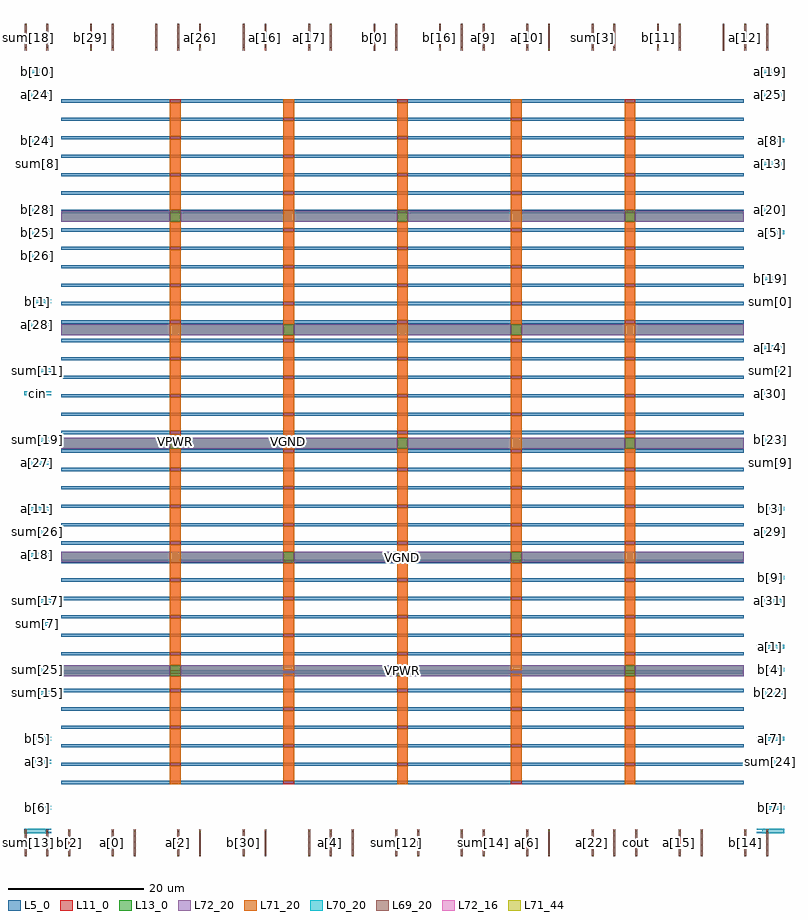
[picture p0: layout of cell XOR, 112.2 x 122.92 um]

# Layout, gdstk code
import gdstk
lib = gdstk.Library(unit=1e-6, precision=1e-09)
def R(c, l, rs):  # rectangles x0, y0, x1, y1
    for r in rs: c.add(gdstk.rectangle(r[:2], r[2:], *l))
def A(c, l, x, y, w, h, nx, ny, dx, dy):  # array of equal rectangles
    R(c, l, [(x+i*dx, y+j*dy, x+i*dx+w, y+j*dy+h) for i in range(nx) for j in range(ny)])
def P(c, l, *ps):  # polygons
    for p in ps: c.add(gdstk.Polygon(p, *l))
L5_0 = (5, 0)
L11_0 = (11, 0)
L13_0 = (13, 0)
L69_20 = (69, 20)
L70_20 = (70, 20)
L71_20 = (71, 20)
L71_44 = (71, 44)
L72_16 = (72, 16)
L72_20 = (72, 20)

xor = lib.new_cell('XOR')
P(xor, L69_20, [(0.09,0),(0.09,4),(0.16,4),(0.16,3.74),(0.3,3.74),(0.3,4),(0.37,4),(0.37,0)],
  [(3.31,0),(3.31,4),(3.38,4),(3.38,3.74),(3.52,3.74),(3.52,4),(3.59,4),(3.59,0)],
  [(6.53,0),(6.53,4),(6.6,4),(6.6,3.74),(6.74,3.74),(6.74,4),(6.81,4),(6.81,0)],
  [(12.97,0),(12.97,4),(13.04,4),(13.04,3.74),(13.18,3.74),(13.18,4),(13.25,4),(13.25,0)],
  [(16.19,0),(16.19,4),(16.26,4),(16.26,3.74),(16.4,3.74),(16.4,4),(16.47,4),(16.47,0)],
  [(22.63,0),(22.63,4),(22.7,4),(22.7,3.74),(22.84,3.74),(22.84,4),(22.91,4),(22.91,0)],
  [(25.85,0),(25.85,4),(25.92,4),(25.92,3.74),(26.06,3.74),(26.06,4),(26.13,4),(26.13,0)],
  [(32.29,0),(32.29,4),(32.36,4),(32.36,3.74),(32.5,3.74),(32.5,4),(32.57,4),(32.57,0)],
  [(35.51,0),(35.51,4),(35.58,4),(35.58,3.74),(35.72,3.74),(35.72,4),(35.79,4),(35.79,0)],
  [(41.95,0),(41.95,4),(42.02,4),(42.02,3.74),(42.16,3.74),(42.16,4),(42.23,4),(42.23,0)],
  [(45.17,0),(45.17,4),(45.24,4),(45.24,3.74),(45.38,3.74),(45.38,4),(45.45,4),(45.45,0)],
  [(48.39,0),(48.39,4),(48.46,4),(48.46,3.74),(48.6,3.74),(48.6,4),(48.67,4),(48.67,0)],
  [(54.83,0),(54.83,4),(54.9,4),(54.9,3.74),(55.04,3.74),(55.04,4),(55.11,4),(55.11,0)],
  [(58.05,0),(58.05,4),(58.12,4),(58.12,3.74),(58.26,3.74),(58.26,4),(58.33,4),(58.33,0)],
  [(64.49,0),(64.49,4),(64.56,4),(64.56,3.74),(64.7,3.74),(64.7,4),(64.77,4),(64.77,0)],
  [(67.71,0),(67.71,4),(67.78,4),(67.78,3.74),(67.92,3.74),(67.92,4),(67.99,4),(67.99,0)],
  [(74.15,0),(74.15,4),(74.22,4),(74.22,3.74),(74.36,3.74),(74.36,4),(74.43,4),(74.43,0)],
  [(77.37,0),(77.37,4),(77.44,4),(77.44,3.74),(77.58,3.74),(77.58,4),(77.65,4),(77.65,0)],
  [(83.81,0),(83.81,4),(83.88,4),(83.88,3.74),(84.02,3.74),(84.02,4),(84.09,4),(84.09,0)],
  [(87.03,0),(87.03,4),(87.1,4),(87.1,3.74),(87.24,3.74),(87.24,4),(87.31,4),(87.31,0)],
  [(90.25,0),(90.25,4),(90.32,4),(90.32,3.74),(90.46,3.74),(90.46,4),(90.53,4),(90.53,0)],
  [(96.69,0),(96.69,4),(96.76,4),(96.76,3.74),(96.9,3.74),(96.9,4),(96.97,4),(96.97,0)],
  [(99.91,0),(99.91,4),(99.98,4),(99.98,3.74),(100.12,3.74),(100.12,4),(100.19,4),(100.19,0)],
  [(106.35,0),(106.35,4),(106.42,4),(106.42,3.74),(106.56,3.74),(106.56,4),(106.63,4),(106.63,0)],
  [(109.57,0),(109.57,4),(109.64,4),(109.64,3.74),(109.78,3.74),(109.78,4),(109.85,4),(109.85,0)],
  [(0.09,118.925),(0.09,122.925),(0.37,122.925),(0.37,118.925),(0.3,118.925),(0.3,119.34),(0.16,119.34),(0.16,118.925)],
  [(3.31,118.925),(3.31,122.925),(3.59,122.925),(3.59,118.925),(3.52,118.925),(3.52,119.34),(3.38,119.34),(3.38,118.925)],
  [(9.75,118.925),(9.75,122.925),(10.03,122.925),(10.03,118.925),(9.96,118.925),(9.96,119.34),(9.82,119.34),(9.82,118.925)],
  [(12.97,118.925),(12.97,122.925),(13.25,122.925),(13.25,118.925),(13.18,118.925),(13.18,119.34),(13.04,119.34),(13.04,118.925)],
  [(19.41,118.925),(19.41,122.925),(19.69,122.925),(19.69,118.925),(19.62,118.925),(19.62,119.34),(19.48,119.34),(19.48,118.925)],
  [(22.63,118.925),(22.63,122.925),(22.91,122.925),(22.91,118.925),(22.84,118.925),(22.84,119.34),(22.7,119.34),(22.7,118.925)],
  [(25.85,118.925),(25.85,122.925),(26.13,122.925),(26.13,118.925),(26.06,118.925),(26.06,119.34),(25.92,119.34),(25.92,118.925)],
  [(32.29,118.925),(32.29,122.925),(32.57,122.925),(32.57,118.925),(32.5,118.925),(32.5,119.34),(32.36,119.34),(32.36,118.925)],
  [(35.51,118.925),(35.51,122.925),(35.79,122.925),(35.79,118.925),(35.72,118.925),(35.72,119.34),(35.58,119.34),(35.58,118.925)],
  [(41.95,118.925),(41.95,122.925),(42.23,122.925),(42.23,118.925),(42.16,118.925),(42.16,119.34),(42.02,119.34),(42.02,118.925)],
  [(45.17,118.925),(45.17,122.925),(45.45,122.925),(45.45,118.925),(45.38,118.925),(45.38,119.34),(45.24,119.34),(45.24,118.925)],
  [(51.61,118.925),(51.61,122.925),(51.89,122.925),(51.89,118.925),(51.82,118.925),(51.82,119.34),(51.68,119.34),(51.68,118.925)],
  [(54.83,118.925),(54.83,122.925),(55.11,122.925),(55.11,118.925),(55.04,118.925),(55.04,119.34),(54.9,119.34),(54.9,118.925)],
  [(61.27,118.925),(61.27,122.925),(61.55,122.925),(61.55,118.925),(61.48,118.925),(61.48,119.34),(61.34,119.34),(61.34,118.925)],
  [(64.49,118.925),(64.49,122.925),(64.77,122.925),(64.77,118.925),(64.7,118.925),(64.7,119.34),(64.56,119.34),(64.56,118.925)],
  [(67.71,118.925),(67.71,122.925),(67.99,122.925),(67.99,118.925),(67.92,118.925),(67.92,119.34),(67.78,119.34),(67.78,118.925)],
  [(74.15,118.925),(74.15,122.925),(74.43,122.925),(74.43,118.925),(74.36,118.925),(74.36,119.34),(74.22,119.34),(74.22,118.925)],
  [(77.37,118.925),(77.37,122.925),(77.65,122.925),(77.65,118.925),(77.58,118.925),(77.58,119.34),(77.44,119.34),(77.44,118.925)],
  [(83.81,118.925),(83.81,122.925),(84.09,122.925),(84.09,118.925),(84.02,118.925),(84.02,119.34),(83.88,119.34),(83.88,118.925)],
  [(87.03,118.925),(87.03,122.925),(87.31,122.925),(87.31,118.925),(87.24,118.925),(87.24,119.34),(87.1,119.34),(87.1,118.925)],
  [(93.47,118.925),(93.47,122.925),(93.75,122.925),(93.75,118.925),(93.68,118.925),(93.68,119.34),(93.54,119.34),(93.54,118.925)],
  [(96.69,118.925),(96.69,122.925),(96.97,122.925),(96.97,118.925),(96.9,118.925),(96.9,119.34),(96.76,119.34),(96.76,118.925)],
  [(103.13,118.925),(103.13,122.925),(103.41,122.925),(103.41,118.925),(103.34,118.925),(103.34,119.34),(103.2,119.34),(103.2,118.925)],
  [(106.35,118.925),(106.35,122.925),(106.63,122.925),(106.63,118.925),(106.56,118.925),(106.56,119.34),(106.42,119.34),(106.42,118.925)],
  [(109.57,118.925),(109.57,122.925),(109.85,122.925),(109.85,118.925),(109.78,118.925),(109.78,119.34),(109.64,119.34),(109.64,118.925)])
P(xor, L70_20, [(0,3.44),(0,4.04),(4,4.04),(4,3.89),(3.22,3.89),(3.22,3.59),(4,3.59),(4,3.44)],
  [(108.205,3.44),(108.205,3.59),(109.02,3.59),(109.02,3.89),(108.205,3.89),(108.205,4.04),(112.205,4.04),(112.205,3.44)],
  [(0,6.84),(0,7.44),(4,7.44),(4,7.29),(3.22,7.29),(3.22,6.99),(4,6.99),(4,6.84)],
  [(108.205,6.84),(108.205,6.99),(109.02,6.99),(109.02,7.29),(108.205,7.29),(108.205,7.44),(112.205,7.44),(112.205,6.84)],
  [(0,13.64),(0,14.24),(4,14.24),(4,14.09),(3.22,14.09),(3.22,13.79),(4,13.79),(4,13.64)],
  [(108.205,13.64),(108.205,13.79),(109.02,13.79),(109.02,14.09),(108.205,14.09),(108.205,14.24),(112.205,14.24),(112.205,13.64)],
  [(0,17.04),(0,17.64),(4,17.64),(4,17.49),(3.22,17.49),(3.22,17.19),(4,17.19),(4,17.04)],
  [(108.205,17.04),(108.205,17.19),(109.02,17.19),(109.02,17.49),(108.205,17.49),(108.205,17.64),(112.205,17.64),(112.205,17.04)],
  [(0,23.84),(0,24.44),(4,24.44),(4,24.29),(3.22,24.29),(3.22,23.99),(4,23.99),(4,23.84)],
  [(108.205,23.84),(108.205,23.99),(109.02,23.99),(109.02,24.29),(108.205,24.29),(108.205,24.44),(112.205,24.44),(112.205,23.84)],
  [(0,27.24),(0,27.84),(4,27.84),(4,27.69),(3.22,27.69),(3.22,27.39),(4,27.39),(4,27.24)],
  [(108.205,27.24),(108.205,27.39),(109.02,27.39),(109.02,27.69),(108.205,27.69),(108.205,27.84),(112.205,27.84),(112.205,27.24)],
  [(108.205,30.64),(108.205,30.79),(109.02,30.79),(109.02,31.09),(108.205,31.09),(108.205,31.24),(112.205,31.24),(112.205,30.64)],
  [(0,34.04),(0,34.64),(4,34.64),(4,34.49),(3.22,34.49),(3.22,34.19),(4,34.19),(4,34.04)],
  [(0,37.44),(0,38.04),(4,38.04),(4,37.89),(3.22,37.89),(3.22,37.59),(4,37.59),(4,37.44)],
  [(108.205,37.44),(108.205,37.59),(109.02,37.59),(109.02,37.89),(108.205,37.89),(108.205,38.04),(112.205,38.04),(112.205,37.44)],
  [(108.205,40.84),(108.205,40.99),(109.02,40.99),(109.02,41.29),(108.205,41.29),(108.205,41.44),(112.205,41.44),(112.205,40.84)],
  [(0,44.24),(0,44.84),(4,44.84),(4,44.69),(3.22,44.69),(3.22,44.39),(4,44.39),(4,44.24)],
  [(0,47.64),(0,48.24),(4,48.24),(4,48.09),(3.22,48.09),(3.22,47.79),(4,47.79),(4,47.64)],
  [(108.205,47.64),(108.205,47.79),(109.02,47.79),(109.02,48.09),(108.205,48.09),(108.205,48.24),(112.205,48.24),(112.205,47.64)],
  [(0,51.04),(0,51.64),(4,51.64),(4,51.49),(3.22,51.49),(3.22,51.19),(4,51.19),(4,51.04)],
  [(108.205,51.04),(108.205,51.19),(109.02,51.19),(109.02,51.49),(108.205,51.49),(108.205,51.64),(112.205,51.64),(112.205,51.04)],
  [(0,57.84),(0,58.44),(4,58.44),(4,58.29),(3.22,58.29),(3.22,57.99),(4,57.99),(4,57.84)],
  [(108.205,57.84),(108.205,57.99),(109.02,57.99),(109.02,58.29),(108.205,58.29),(108.205,58.44),(112.205,58.44),(112.205,57.84)],
  [(0,61.24),(0,61.84),(4,61.84),(4,61.69),(3.22,61.69),(3.22,61.39),(4,61.39),(4,61.24)],
  [(108.205,61.24),(108.205,61.39),(109.02,61.39),(109.02,61.69),(108.205,61.69),(108.205,61.84),(112.205,61.84),(112.205,61.24)],
  [(0,68.04),(0,68.64),(4,68.64),(4,68.49),(3.22,68.49),(3.22,68.19),(4,68.19),(4,68.04)],
  [(108.205,68.04),(108.205,68.19),(109.02,68.19),(109.02,68.49),(108.205,68.49),(108.205,68.64),(112.205,68.64),(112.205,68.04)],
  [(0,71.44),(0,72.04),(4,72.04),(4,71.89),(3.22,71.89),(3.22,71.59),(4,71.59),(4,71.44)],
  [(108.205,71.44),(108.205,71.59),(109.02,71.59),(109.02,71.89),(108.205,71.89),(108.205,72.04),(112.205,72.04),(112.205,71.44)],
  [(108.205,74.84),(108.205,74.99),(109.02,74.99),(109.02,75.29),(108.205,75.29),(108.205,75.44),(112.205,75.44),(112.205,74.84)],
  [(0,78.24),(0,78.84),(4,78.84),(4,78.69),(3.22,78.69),(3.22,78.39),(4,78.39),(4,78.24)],
  [(0,81.64),(0,82.24),(4,82.24),(4,82.09),(3.22,82.09),(3.22,81.79),(4,81.79),(4,81.64)],
  [(108.205,81.64),(108.205,81.79),(109.02,81.79),(109.02,82.09),(108.205,82.09),(108.205,82.24),(112.205,82.24),(112.205,81.64)],
  [(108.205,85.04),(108.205,85.19),(109.02,85.19),(109.02,85.49),(108.205,85.49),(108.205,85.64),(112.205,85.64),(112.205,85.04)],
  [(0,88.44),(0,89.04),(4,89.04),(4,88.89),(3.22,88.89),(3.22,88.59),(4,88.59),(4,88.44)],
  [(0,91.84),(0,92.44),(4,92.44),(4,92.29),(3.22,92.29),(3.22,91.99),(4,91.99),(4,91.84)],
  [(108.205,91.84),(108.205,91.99),(109.02,91.99),(109.02,92.29),(108.205,92.29),(108.205,92.44),(112.205,92.44),(112.205,91.84)],
  [(0,95.24),(0,95.84),(4,95.84),(4,95.69),(3.22,95.69),(3.22,95.39),(4,95.39),(4,95.24)],
  [(108.205,95.24),(108.205,95.39),(109.02,95.39),(109.02,95.69),(108.205,95.69),(108.205,95.84),(112.205,95.84),(112.205,95.24)],
  [(0,102.04),(0,102.64),(4,102.64),(4,102.49),(3.22,102.49),(3.22,102.19),(4,102.19),(4,102.04)],
  [(108.205,102.04),(108.205,102.19),(109.02,102.19),(109.02,102.49),(108.205,102.49),(108.205,102.64),(112.205,102.64),(112.205,102.04)],
  [(0,105.44),(0,106.04),(4,106.04),(4,105.89),(3.22,105.89),(3.22,105.59),(4,105.59),(4,105.44)],
  [(108.205,105.44),(108.205,105.59),(109.02,105.59),(109.02,105.89),(108.205,105.89),(108.205,106.04),(112.205,106.04),(112.205,105.44)],
  [(0,112.24),(0,112.84),(4,112.84),(4,112.69),(3.22,112.69),(3.22,112.39),(4,112.39),(4,112.24)],
  [(108.205,112.24),(108.205,112.39),(109.02,112.39),(109.02,112.69),(108.205,112.69),(108.205,112.84),(112.205,112.84),(112.205,112.24)],
  [(0,115.64),(0,116.24),(4,116.24),(4,116.09),(3.22,116.09),(3.22,115.79),(4,115.79),(4,115.64)],
  [(108.205,115.64),(108.205,115.79),(109.02,115.79),(109.02,116.09),(108.205,116.09),(108.205,116.24),(112.205,116.24),(112.205,115.64)])
A(xor, L71_20, 21.51, 10.64, 1.6, 2.72, 3, 1, 33.58, 0)
A(xor, L71_20, 38.3, 11.12, 1.6, 4.96, 1, 6, 0, 5.44)
A(xor, L71_20, 71.88, 11.12, 1.6, 4.96, 1, 6, 0, 5.44)
A(xor, L71_20, 21.51, 13.84, 1.6, 4.96, 3, 2, 33.58, 5.44)
A(xor, L71_20, 21.51, 24.72, 1.6, 1.893, 3, 1, 33.58, 0)
A(xor, L71_20, 21.51, 28.213, 1.6, 1.467, 3, 1, 33.58, 0)
A(xor, L71_20, 21.51, 30.16, 1.6, 4.96, 3, 5, 33.58, 5.44)
A(xor, L71_20, 38.3, 49.2, 1.6, 4.96, 1, 5, 0, 5.44)
A(xor, L71_20, 71.88, 49.2, 1.6, 4.96, 1, 5, 0, 5.44)
A(xor, L71_20, 21.51, 57.36, 1.6, 2.8, 3, 1, 33.58, 0)
A(xor, L71_20, 21.51, 61.76, 1.6, 0.56, 3, 1, 33.58, 0)
A(xor, L71_20, 21.51, 62.8, 1.6, 4.96, 3, 5, 33.58, 5.44)
A(xor, L71_20, 38.3, 81.84, 1.6, 4.96, 1, 5, 0, 5.44)
A(xor, L71_20, 71.88, 81.84, 1.6, 4.96, 1, 5, 0, 5.44)
A(xor, L71_20, 21.51, 90, 1.6, 3.707, 3, 1, 33.58, 0)
A(xor, L71_20, 21.51, 95.44, 1.6, 4.96, 3, 3, 33.58, 5.44)
R(xor, L71_20, [(38.3,44.986,39.9,48.72), (71.88,44.986,73.48,48.72), (38.3,76.4,39.9,76.933), (71.88,76.4,73.48,76.933), (38.3,78.533,39.9,81.36), (71.88,78.533,73.48,81.36), (38.3,109.04,39.9,111.76), (71.88,109.04,73.48,111.76)])
A(xor, L71_44, 21.91, 27.01, 0.8, 0.003, 3, 2, 33.58, 0.8)
A(xor, L71_44, 21.91, 94.105, 0.8, 0.002, 3, 2, 33.58, 0.8)
R(xor, L71_44, [(38.7,43.785,39.5,43.786), (72.28,43.785,73.08,43.786), (38.7,44.585,39.5,44.586), (72.28,44.585,73.08,44.586), (38.7,77.33,39.5,77.333), (72.28,77.33,73.08,77.333), (38.7,78.13,39.5,78.133), (72.28,78.13,73.08,78.133)])
R(xor, L72_16, [(5.52,26.613,106.26,26.615), (5.52,28.213,106.26,28.215), (5.52,43.385,106.26,43.386), (5.52,44.985,106.26,44.986), (5.52,76.933,106.26,76.935), (5.52,78.533,106.26,78.535), (5.52,93.705,106.26,93.707), (5.52,95.305,106.26,95.307)])
R(xor, L72_20, [(5.52,60.16,21.51,61.76), (23.11,60.16,55.09,61.76), (56.69,60.16,88.67,61.76), (90.27,60.16,106.26,61.76)])
P(xor, L72_20, [(5.52,26.61),(5.52,28.213),(21.51,28.213),(21.51,26.613),(23.11,26.613),(23.11,28.213),(55.09,28.213),(55.09,26.613),(56.69,26.613),(56.69,28.213),(88.67,28.213),(88.67,26.613),(90.27,26.613),(90.27,28.213),(5.52,28.213),(5.52,28.215),(106.26,28.215),(106.26,26.61)],
  [(5.52,43.385),(5.52,44.985),(38.3,44.985),(38.3,43.386),(39.9,43.386),(39.9,44.985),(38.3,44.985),(38.3,44.986),(39.9,44.986),(39.9,44.985),(71.88,44.985),(71.88,43.386),(73.48,43.386),(73.48,44.985),(71.88,44.985),(71.88,44.986),(73.48,44.986),(73.48,44.985),(106.26,44.985),(106.26,43.385)],
  [(5.52,76.93),(5.52,78.533),(38.3,78.533),(38.3,76.933),(39.9,76.933),(39.9,78.533),(71.88,78.533),(71.88,76.933),(73.48,76.933),(73.48,78.533),(5.52,78.533),(5.52,78.535),(106.26,78.535),(106.26,76.93)],
  [(5.52,93.705),(5.52,95.305),(21.51,95.305),(21.51,93.707),(23.11,93.707),(23.11,95.305),(21.51,95.305),(21.51,95.307),(23.11,95.307),(23.11,95.305),(55.09,95.305),(55.09,93.707),(56.69,93.707),(56.69,95.305),(55.09,95.305),(55.09,95.307),(56.69,95.307),(56.69,95.305),(88.67,95.305),(88.67,93.707),(90.27,93.707),(90.27,95.305),(88.67,95.305),(88.67,95.307),(90.27,95.307),(90.27,95.305),(106.26,95.305),(106.26,93.705)])
xor.add(gdstk.FlexPath([(72.68,10.64),(72.68,111.76)], 1.6, ends="flush", simple_path=True, layer=11, datatype=0))  # L11_0
xor.add(gdstk.FlexPath([(39.1,10.64),(39.1,111.76)], 1.6, ends="flush", simple_path=True, layer=11, datatype=0))  # L11_0
xor.add(gdstk.FlexPath([(89.47,10.64),(89.47,111.76)], 1.6, ends="flush", simple_path=True, layer=11, datatype=0))  # L11_0
xor.add(gdstk.FlexPath([(55.89,10.64),(55.89,111.76)], 1.6, ends="flush", simple_path=True, layer=11, datatype=0))  # L11_0
xor.add(gdstk.FlexPath([(22.31,10.64),(22.31,111.76)], 1.6, ends="flush", simple_path=True, layer=11, datatype=0))  # L11_0
xor.add(gdstk.FlexPath([(5.52,77.733),(106.26,77.733)], 1.6, ends="flush", simple_path=True, layer=13, datatype=0))  # L13_0
xor.add(gdstk.FlexPath([(5.52,44.186),(106.26,44.186)], 1.6, ends="flush", simple_path=True, layer=13, datatype=0))  # L13_0
xor.add(gdstk.FlexPath([(5.52,94.507),(106.26,94.507)], 1.6, ends="flush", simple_path=True, layer=13, datatype=0))  # L13_0
xor.add(gdstk.FlexPath([(5.52,60.96),(106.26,60.96)], 1.6, ends="flush", simple_path=True, layer=13, datatype=0))  # L13_0
xor.add(gdstk.FlexPath([(5.52,27.413),(106.26,27.413)], 1.6, ends="flush", simple_path=True, layer=13, datatype=0))  # L13_0
xor.add(gdstk.FlexPath([(5.52,108.8),(106.26,108.8)], 0.48, ends="flush", simple_path=True, layer=5, datatype=0))  # L5_0
xor.add(gdstk.FlexPath([(5.52,103.36),(106.26,103.36)], 0.48, ends="flush", simple_path=True, layer=5, datatype=0))  # L5_0
xor.add(gdstk.FlexPath([(5.52,97.92),(106.26,97.92)], 0.48, ends="flush", simple_path=True, layer=5, datatype=0))  # L5_0
xor.add(gdstk.FlexPath([(5.52,92.48),(106.26,92.48)], 0.48, ends="flush", simple_path=True, layer=5, datatype=0))  # L5_0
xor.add(gdstk.FlexPath([(5.52,87.04),(106.26,87.04)], 0.48, ends="flush", simple_path=True, layer=5, datatype=0))  # L5_0
xor.add(gdstk.FlexPath([(5.52,81.6),(106.26,81.6)], 0.48, ends="flush", simple_path=True, layer=5, datatype=0))  # L5_0
xor.add(gdstk.FlexPath([(5.52,76.16),(106.26,76.16)], 0.48, ends="flush", simple_path=True, layer=5, datatype=0))  # L5_0
xor.add(gdstk.FlexPath([(5.52,70.72),(106.26,70.72)], 0.48, ends="flush", simple_path=True, layer=5, datatype=0))  # L5_0
xor.add(gdstk.FlexPath([(5.52,65.28),(106.26,65.28)], 0.48, ends="flush", simple_path=True, layer=5, datatype=0))  # L5_0
xor.add(gdstk.FlexPath([(5.52,59.84),(106.26,59.84)], 0.48, ends="flush", simple_path=True, layer=5, datatype=0))  # L5_0
xor.add(gdstk.FlexPath([(5.52,54.4),(106.26,54.4)], 0.48, ends="flush", simple_path=True, layer=5, datatype=0))  # L5_0
xor.add(gdstk.FlexPath([(5.52,48.96),(106.26,48.96)], 0.48, ends="flush", simple_path=True, layer=5, datatype=0))  # L5_0
xor.add(gdstk.FlexPath([(5.52,43.52),(106.26,43.52)], 0.48, ends="flush", simple_path=True, layer=5, datatype=0))  # L5_0
xor.add(gdstk.FlexPath([(5.52,38.08),(106.26,38.08)], 0.48, ends="flush", simple_path=True, layer=5, datatype=0))  # L5_0
xor.add(gdstk.FlexPath([(5.52,32.64),(106.26,32.64)], 0.48, ends="flush", simple_path=True, layer=5, datatype=0))  # L5_0
xor.add(gdstk.FlexPath([(5.52,27.2),(106.26,27.2)], 0.48, ends="flush", simple_path=True, layer=5, datatype=0))  # L5_0
xor.add(gdstk.FlexPath([(5.52,21.76),(106.26,21.76)], 0.48, ends="flush", simple_path=True, layer=5, datatype=0))  # L5_0
xor.add(gdstk.FlexPath([(5.52,16.32),(106.26,16.32)], 0.48, ends="flush", simple_path=True, layer=5, datatype=0))  # L5_0
xor.add(gdstk.FlexPath([(5.52,10.88),(106.26,10.88)], 0.48, ends="flush", simple_path=True, layer=5, datatype=0))  # L5_0
xor.add(gdstk.FlexPath([(5.52,111.52),(106.26,111.52)], 0.48, ends="flush", simple_path=True, layer=5, datatype=0))  # L5_0
xor.add(gdstk.FlexPath([(5.52,106.08),(106.26,106.08)], 0.48, ends="flush", simple_path=True, layer=5, datatype=0))  # L5_0
xor.add(gdstk.FlexPath([(5.52,100.64),(106.26,100.64)], 0.48, ends="flush", simple_path=True, layer=5, datatype=0))  # L5_0
xor.add(gdstk.FlexPath([(5.52,95.2),(106.26,95.2)], 0.48, ends="flush", simple_path=True, layer=5, datatype=0))  # L5_0
xor.add(gdstk.FlexPath([(5.52,89.76),(106.26,89.76)], 0.48, ends="flush", simple_path=True, layer=5, datatype=0))  # L5_0
xor.add(gdstk.FlexPath([(5.52,84.32),(106.26,84.32)], 0.48, ends="flush", simple_path=True, layer=5, datatype=0))  # L5_0
xor.add(gdstk.FlexPath([(5.52,78.88),(106.26,78.88)], 0.48, ends="flush", simple_path=True, layer=5, datatype=0))  # L5_0
xor.add(gdstk.FlexPath([(5.52,73.44),(106.26,73.44)], 0.48, ends="flush", simple_path=True, layer=5, datatype=0))  # L5_0
xor.add(gdstk.FlexPath([(5.52,68),(106.26,68)], 0.48, ends="flush", simple_path=True, layer=5, datatype=0))  # L5_0
xor.add(gdstk.FlexPath([(5.52,62.56),(106.26,62.56)], 0.48, ends="flush", simple_path=True, layer=5, datatype=0))  # L5_0
xor.add(gdstk.FlexPath([(5.52,57.12),(106.26,57.12)], 0.48, ends="flush", simple_path=True, layer=5, datatype=0))  # L5_0
xor.add(gdstk.FlexPath([(5.52,51.68),(106.26,51.68)], 0.48, ends="flush", simple_path=True, layer=5, datatype=0))  # L5_0
xor.add(gdstk.FlexPath([(5.52,46.24),(106.26,46.24)], 0.48, ends="flush", simple_path=True, layer=5, datatype=0))  # L5_0
xor.add(gdstk.FlexPath([(5.52,40.8),(106.26,40.8)], 0.48, ends="flush", simple_path=True, layer=5, datatype=0))  # L5_0
xor.add(gdstk.FlexPath([(5.52,35.36),(106.26,35.36)], 0.48, ends="flush", simple_path=True, layer=5, datatype=0))  # L5_0
xor.add(gdstk.FlexPath([(5.52,29.92),(106.26,29.92)], 0.48, ends="flush", simple_path=True, layer=5, datatype=0))  # L5_0
xor.add(gdstk.FlexPath([(5.52,24.48),(106.26,24.48)], 0.48, ends="flush", simple_path=True, layer=5, datatype=0))  # L5_0
xor.add(gdstk.FlexPath([(5.52,19.04),(106.26,19.04)], 0.48, ends="flush", simple_path=True, layer=5, datatype=0))  # L5_0
xor.add(gdstk.FlexPath([(5.52,13.6),(106.26,13.6)], 0.48, ends="flush", simple_path=True, layer=5, datatype=0))  # L5_0
xor.add(gdstk.Label('a[0]', (13.11,2), layer=69, texttype=5))
xor.add(gdstk.Label('a[10]', (74.29,120.925), layer=69, texttype=5))
xor.add(gdstk.Label('a[12]', (106.49,120.925), layer=69, texttype=5))
xor.add(gdstk.Label('a[15]', (96.83,2), layer=69, texttype=5))
xor.add(gdstk.Label('a[16]', (35.65,120.925), layer=69, texttype=5))
xor.add(gdstk.Label('a[17]', (42.09,120.925), layer=69, texttype=5))
xor.add(gdstk.Label('a[21]', (32.43,120.925), layer=69, texttype=5))
xor.add(gdstk.Label('a[22]', (83.95,2), layer=69, texttype=5))
xor.add(gdstk.Label('a[26]', (25.99,120.925), layer=69, texttype=5))
xor.add(gdstk.Label('a[2]', (22.77,2), layer=69, texttype=5))
xor.add(gdstk.Label('a[4]', (45.31,2), layer=69, texttype=5))
xor.add(gdstk.Label('a[6]', (74.29,2), layer=69, texttype=5))
xor.add(gdstk.Label('a[9]', (67.85,120.925), layer=69, texttype=5))
xor.add(gdstk.Label('b[0]', (51.75,120.925), layer=69, texttype=5))
xor.add(gdstk.Label('b[11]', (93.61,120.925), layer=69, texttype=5))
xor.add(gdstk.Label('b[12]', (25.99,2), layer=69, texttype=5))
xor.add(gdstk.Label('b[14]', (106.49,2), layer=69, texttype=5))
xor.add(gdstk.Label('b[15]', (45.31,120.925), layer=69, texttype=5))
xor.add(gdstk.Label('b[16]', (61.41,120.925), layer=69, texttype=5))
xor.add(gdstk.Label('b[17]', (96.83,120.925), layer=69, texttype=5))
xor.add(gdstk.Label('b[18]', (109.71,2), layer=69, texttype=5))
xor.add(gdstk.Label('b[20]', (64.63,120.925), layer=69, texttype=5))
xor.add(gdstk.Label('b[21]', (42.09,2), layer=69, texttype=5))
xor.add(gdstk.Label('b[27]', (87.17,2), layer=69, texttype=5))
xor.add(gdstk.Label('b[29]', (9.89,120.925), layer=69, texttype=5))
xor.add(gdstk.Label('b[2]', (6.67,2), layer=69, texttype=5))
xor.add(gdstk.Label('b[30]', (32.43,2), layer=69, texttype=5))
xor.add(gdstk.Label('b[31]', (100.05,2), layer=69, texttype=5))
xor.add(gdstk.Label('b[8]', (13.11,120.925), layer=69, texttype=5))
xor.add(gdstk.Label('cout', (90.39,2), layer=69, texttype=5))
xor.add(gdstk.Label('sum[10]', (19.55,120.925), layer=69, texttype=5))
xor.add(gdstk.Label('sum[12]', (54.97,2), layer=69, texttype=5))
xor.add(gdstk.Label('sum[13]', (0.23,2), layer=69, texttype=5))
xor.add(gdstk.Label('sum[14]', (67.85,2), layer=69, texttype=5))
xor.add(gdstk.Label('sum[16]', (54.97,120.925), layer=69, texttype=5))
xor.add(gdstk.Label('sum[18]', (0.23,120.925), layer=69, texttype=5))
xor.add(gdstk.Label('sum[1]', (3.45,2), layer=69, texttype=5))
xor.add(gdstk.Label('sum[20]', (103.27,120.925), layer=69, texttype=5))
xor.add(gdstk.Label('sum[21]', (77.51,120.925), layer=69, texttype=5))
xor.add(gdstk.Label('sum[22]', (48.53,2), layer=69, texttype=5))
xor.add(gdstk.Label('sum[23]', (109.71,120.925), layer=69, texttype=5))
xor.add(gdstk.Label('sum[27]', (16.33,2), layer=69, texttype=5))
xor.add(gdstk.Label('sum[28]', (35.65,2), layer=69, texttype=5))
xor.add(gdstk.Label('sum[29]', (58.19,2), layer=69, texttype=5))
xor.add(gdstk.Label('sum[30]', (64.63,2), layer=69, texttype=5))
xor.add(gdstk.Label('sum[31]', (87.17,120.925), layer=69, texttype=5))
xor.add(gdstk.Label('sum[3]', (83.95,120.925), layer=69, texttype=5))
xor.add(gdstk.Label('sum[4]', (3.45,120.925), layer=69, texttype=5))
xor.add(gdstk.Label('sum[5]', (22.77,120.925), layer=69, texttype=5))
xor.add(gdstk.Label('sum[6]', (77.51,2), layer=69, texttype=5))
xor.add(gdstk.Label('a[11]', (2,51.34), layer=70, texttype=5))
xor.add(gdstk.Label('a[13]', (110.205,102.34), layer=70, texttype=5))
xor.add(gdstk.Label('a[14]', (110.205,75.14), layer=70, texttype=5))
xor.add(gdstk.Label('a[18]', (2,44.54), layer=70, texttype=5))
xor.add(gdstk.Label('a[19]', (110.205,115.94), layer=70, texttype=5))
xor.add(gdstk.Label('a[1]', (110.205,30.94), layer=70, texttype=5))
xor.add(gdstk.Label('a[20]', (110.205,95.54), layer=70, texttype=5))
xor.add(gdstk.Label('a[23]', (2,3.74), layer=70, texttype=5))
xor.add(gdstk.Label('a[24]', (2,112.54), layer=70, texttype=5))
xor.add(gdstk.Label('a[25]', (110.205,112.54), layer=70, texttype=5))
xor.add(gdstk.Label('a[27]', (2,58.14), layer=70, texttype=5))
xor.add(gdstk.Label('a[28]', (2,78.54), layer=70, texttype=5))
xor.add(gdstk.Label('a[29]', (110.205,47.94), layer=70, texttype=5))
xor.add(gdstk.Label('a[30]', (110.205,68.34), layer=70, texttype=5))
xor.add(gdstk.Label('a[31]', (110.205,37.74), layer=70, texttype=5))
xor.add(gdstk.Label('a[3]', (2,13.94), layer=70, texttype=5))
xor.add(gdstk.Label('a[5]', (110.205,92.14), layer=70, texttype=5))
xor.add(gdstk.Label('a[7]', (110.205,17.34), layer=70, texttype=5))
xor.add(gdstk.Label('a[8]', (110.205,105.74), layer=70, texttype=5))
xor.add(gdstk.Label('b[10]', (2,115.94), layer=70, texttype=5))
xor.add(gdstk.Label('b[13]', (110.205,3.74), layer=70, texttype=5))
xor.add(gdstk.Label('b[19]', (110.205,85.34), layer=70, texttype=5))
xor.add(gdstk.Label('b[1]', (2,81.94), layer=70, texttype=5))
xor.add(gdstk.Label('b[22]', (110.205,24.14), layer=70, texttype=5))
xor.add(gdstk.Label('b[23]', (110.205,61.54), layer=70, texttype=5))
xor.add(gdstk.Label('b[24]', (2,105.74), layer=70, texttype=5))
xor.add(gdstk.Label('b[25]', (2,92.14), layer=70, texttype=5))
xor.add(gdstk.Label('b[26]', (2,88.74), layer=70, texttype=5))
xor.add(gdstk.Label('b[28]', (2,95.54), layer=70, texttype=5))
xor.add(gdstk.Label('b[3]', (110.205,51.34), layer=70, texttype=5))
xor.add(gdstk.Label('b[4]', (110.205,27.54), layer=70, texttype=5))
xor.add(gdstk.Label('b[5]', (2,17.34), layer=70, texttype=5))
xor.add(gdstk.Label('b[6]', (2,7.14), layer=70, texttype=5))
xor.add(gdstk.Label('b[7]', (110.205,7.14), layer=70, texttype=5))
xor.add(gdstk.Label('b[9]', (110.205,41.14), layer=70, texttype=5))
xor.add(gdstk.Label('cin', (2,68.34), layer=70, texttype=5))
xor.add(gdstk.Label('sum[0]', (110.205,81.94), layer=70, texttype=5))
xor.add(gdstk.Label('sum[11]', (2,71.74), layer=70, texttype=5))
xor.add(gdstk.Label('sum[15]', (2,24.14), layer=70, texttype=5))
xor.add(gdstk.Label('sum[17]', (2,37.74), layer=70, texttype=5))
xor.add(gdstk.Label('sum[19]', (2,61.54), layer=70, texttype=5))
xor.add(gdstk.Label('sum[24]', (110.205,13.94), layer=70, texttype=5))
xor.add(gdstk.Label('sum[25]', (2,27.54), layer=70, texttype=5))
xor.add(gdstk.Label('sum[26]', (2,47.94), layer=70, texttype=5))
xor.add(gdstk.Label('sum[2]', (110.205,71.74), layer=70, texttype=5))
xor.add(gdstk.Label('sum[7]', (2,34.34), layer=70, texttype=5))
xor.add(gdstk.Label('sum[8]', (2,102.34), layer=70, texttype=5))
xor.add(gdstk.Label('sum[9]', (110.205,58.14), layer=70, texttype=5))
xor.add(gdstk.Label('VGND', (39.1,61.2), layer=71, texttype=5))
xor.add(gdstk.Label('VPWR', (22.31,61.2), layer=71, texttype=5))
xor.add(gdstk.Label('VGND', (55.89,44.186), layer=72, texttype=5))
xor.add(gdstk.Label('VPWR', (55.89,27.413), layer=72, texttype=5))

lib.write_gds('XOR.gds')
